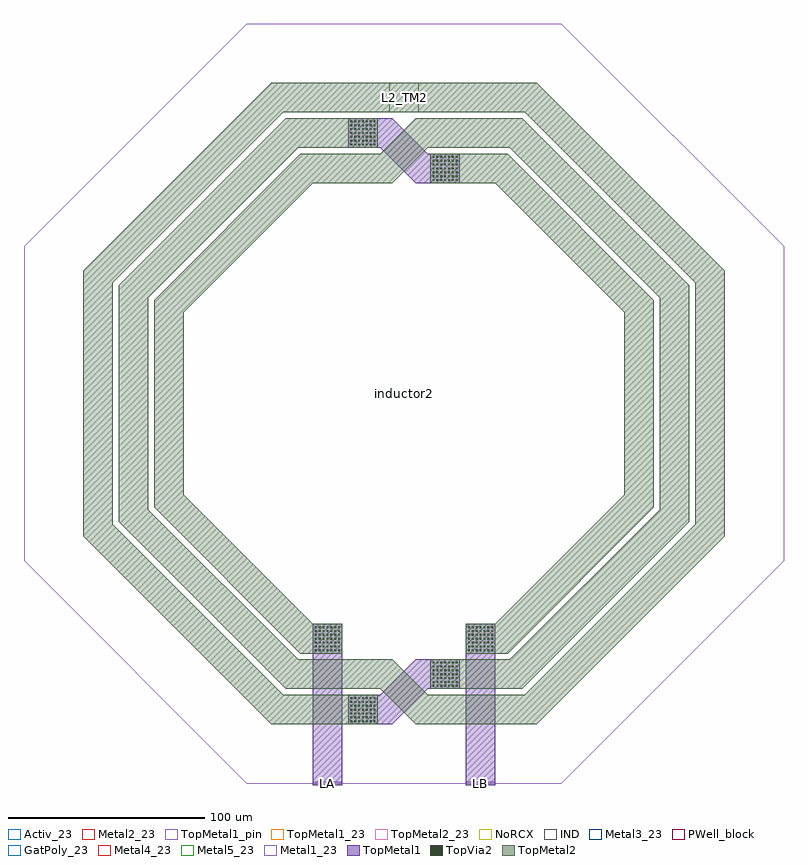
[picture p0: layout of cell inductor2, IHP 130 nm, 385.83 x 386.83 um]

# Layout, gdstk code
import gdstk
lib = gdstk.Library(unit=1e-6, precision=1e-09)
def R(c, l, rs):  # rectangles x0, y0, x1, y1
    for r in rs: c.add(gdstk.rectangle(r[:2], r[2:], *l))
def A(c, l, x, y, w, h, nx, ny, dx, dy):  # array of equal rectangles
    R(c, l, [(x+i*dx, y+j*dy, x+i*dx+w, y+j*dy+h) for i in range(nx) for j in range(ny)])
def P(c, l, *ps):  # polygons
    for p in ps: c.add(gdstk.Polygon(p, *l))
Activ_23 = (1, 23)
GatPoly_23 = (5, 23)
Metal1_23 = (8, 23)
Metal2_23 = (10, 23)
IND = (27, 0)
Metal3_23 = (30, 23)
PWell_block = (46, 21)
Metal4_23 = (50, 23)
Metal5_23 = (67, 23)
TopMetal1 = (126, 0)
TopMetal1_pin = (126, 2)
TopMetal1_23 = (126, 23)
TopVia2 = (133, 0)
TopMetal2 = (134, 0)
TopMetal2_23 = (134, 23)
NoRCX = (148, 0)

inductor2 = lib.new_cell('inductor2')
P(inductor2, Activ_23, [(-79.905,0),(-192.915,113.01),(-192.915,272.82),(-79.905,385.83),(79.905,385.83),(192.915,272.82),(192.915,113.01),(79.905,0)])
P(inductor2, GatPoly_23, [(-79.905,0),(-192.915,113.01),(-192.915,272.82),(-79.905,385.83),(79.905,385.83),(192.915,272.82),(192.915,113.01),(79.905,0)])
P(inductor2, Metal1_23, [(-79.905,0),(-192.915,113.01),(-192.915,272.82),(-79.905,385.83),(79.905,385.83),(192.915,272.82),(192.915,113.01),(79.905,0)])
P(inductor2, Metal2_23, [(-79.905,0),(-192.915,113.01),(-192.915,272.82),(-79.905,385.83),(79.905,385.83),(192.915,272.82),(192.915,113.01),(79.905,0)])
R(inductor2, IND, [(-7.51,340.8,7.51,355.82)])
P(inductor2, Metal3_23, [(-79.905,0),(-192.915,113.01),(-192.915,272.82),(-79.905,385.83),(79.905,385.83),(192.915,272.82),(192.915,113.01),(79.905,0)])
P(inductor2, PWell_block, [(-79.905,0),(-192.915,113.01),(-192.915,272.82),(-79.905,385.83),(79.905,385.83),(192.915,272.82),(192.915,113.01),(79.905,0)])
P(inductor2, Metal4_23, [(-79.905,0),(-192.915,113.01),(-192.915,272.82),(-79.905,385.83),(79.905,385.83),(192.915,272.82),(192.915,113.01),(79.905,0)])
P(inductor2, Metal5_23, [(-79.905,0),(-192.915,113.01),(-192.915,272.82),(-79.905,385.83),(79.905,385.83),(192.915,272.82),(192.915,113.01),(79.905,0)])
P(inductor2, TopMetal1, [(5.915,304.77),(-12.105,322.79),(-28.365,322.79),(-28.365,337.79),(-5.915,337.79),(12.105,319.77),(28.365,319.77),(28.365,304.77)],
  [(-28.365,30),(-28.365,45),(-12.115,45),(5.885,63),(28.375,63),(28.375,48),(12.105,48),(-5.895,30)])
R(inductor2, TopMetal1_pin, [(-46.365,-1,-31.365,1), (31.365,-1,46.365,1)])
P(inductor2, TopMetal1_23, [(-79.905,0),(-192.915,113.01),(-192.915,272.82),(-79.905,385.83),(79.905,385.83),(192.915,272.82),(192.915,113.01),(79.905,0)])
A(inductor2, TopVia2, -27.195, 31.17, 0.9, 0.9, 7, 7, 1.96, 1.96)
A(inductor2, TopVia2, 14.545, 49.17, 0.9, 0.9, 7, 7, 1.96, 1.96)
A(inductor2, TopVia2, -45.195, 67.17, 0.9, 0.9, 7, 7, 1.96, 1.96)
A(inductor2, TopVia2, 32.535, 67.17, 0.9, 0.9, 7, 7, 1.96, 1.96)
A(inductor2, TopVia2, 14.535, 305.94, 0.9, 0.9, 7, 7, 1.96, 1.96)
A(inductor2, TopVia2, -27.195, 323.94, 0.9, 0.9, 7, 7, 1.96, 1.96)
R(inductor2, TopMetal2, [(-13.365,340.81,13.365,355.81)])
P(inductor2, TopMetal2, [(31.365,66),(31.365,81),(46.34,81),(111.885,146.545),(111.885,239.225),(46.34,304.77),(13.365,304.77),(13.365,319.77),(52.56,319.77),(126.885,245.445),(126.885,140.325),(52.56,66)],
  [(-52.56,66),(-126.885,140.325),(-126.885,245.445),(-52.56,319.77),(-13.365,319.77),(-13.365,304.77),(-46.34,304.77),(-111.885,239.225),(-111.885,146.545),(-46.34,81),(-31.365,81),(-31.365,66)],
  [(-13.365,304.77),(-13.365,319.77),(-12.105,319.77),(5.915,337.79),(13.365,337.79),(13.365,322.79),(12.135,322.79),(-5.885,304.77)],
  [(13.365,48),(13.365,63),(53.8,63),(129.895,139.095),(129.895,246.695),(53.8,322.79),(13.365,322.79),(13.365,337.79),(60.02,337.79),(144.895,252.915),(144.895,132.875),(60.02,48)],
  [(-60.02,48),(-144.895,132.875),(-144.895,252.915),(-60.02,337.79),(-13.365,337.79),(-13.365,322.79),(-53.8,322.79),(-129.895,246.695),(-129.895,139.095),(-53.8,63),(-13.365,63),(-13.365,48)],
  [(13.365,30),(13.365,45),(61.26,45),(147.905,131.645),(147.905,254.165),(61.26,340.81),(13.365,340.81),(13.365,355.81),(67.48,355.81),(162.905,260.385),(162.905,125.425),(67.48,30)],
  [(-67.48,30),(-162.905,125.425),(-162.905,260.385),(-67.48,355.81),(-13.365,355.81),(-13.365,340.81),(-61.26,340.81),(-147.905,254.165),(-147.905,131.645),(-61.26,45),(-13.365,45),(-13.365,30)],
  [(5.895,30),(-12.105,48),(-13.365,48),(-13.365,63),(-5.885,63),(12.115,45),(13.365,45),(13.365,30)])
P(inductor2, TopMetal2_23, [(-79.905,0),(-192.915,113.01),(-192.915,272.82),(-79.905,385.83),(79.905,385.83),(192.915,272.82),(192.915,113.01),(79.905,0)])
P(inductor2, NoRCX, [(-79.905,0),(-192.915,113.01),(-192.915,272.82),(-79.905,385.83),(79.905,385.83),(192.915,272.82),(192.915,113.01),(79.905,0)])
inductor2.add(gdstk.FlexPath([(38.865,-1),(38.865,81)], 15, ends="flush", simple_path=True, layer=126, datatype=0))  # TopMetal1
inductor2.add(gdstk.FlexPath([(-38.865,-1),(-38.865,81)], 15, ends="flush", simple_path=True, layer=126, datatype=0))  # TopMetal1
inductor2.add(gdstk.Label('L2_TM2', (0,348.31), layer=63, texttype=0))
inductor2.add(gdstk.Label('l=1p', (0,353.31), layer=63, texttype=0))
inductor2.add(gdstk.Label('r=1m', (0,343.31), layer=63, texttype=0))
inductor2.add(gdstk.Label('LB', (38.865,0), layer=63, texttype=0))
inductor2.add(gdstk.Label('LA', (-38.865,0), layer=63, texttype=0))
inductor2.add(gdstk.Label('inductor2', (0,198.038), layer=63, texttype=0))

lib.write_gds('inductor2.gds')
